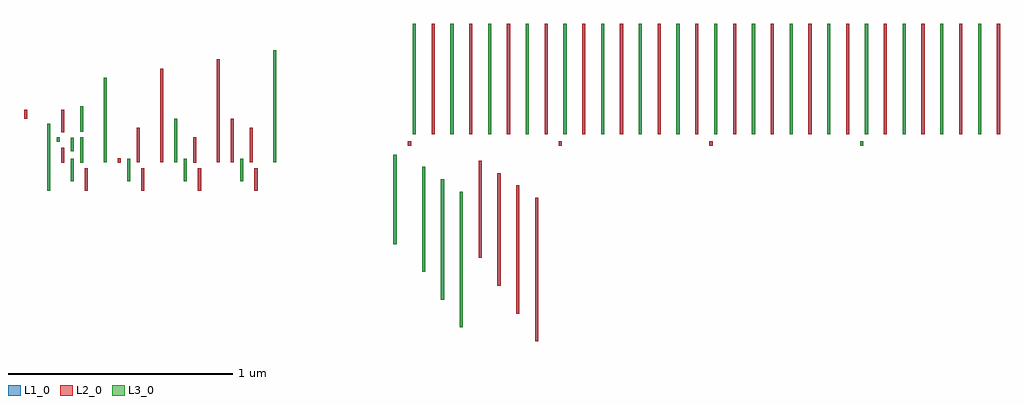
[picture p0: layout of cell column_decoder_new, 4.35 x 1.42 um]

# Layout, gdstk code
import gdstk
lib = gdstk.Library(unit=1e-6, precision=5e-10)
def R(c, l, rs):  # rectangles x0, y0, x1, y1
    for r in rs: c.add(gdstk.rectangle(r[:2], r[2:], *l))
def A(c, l, x, y, w, h, nx, ny, dx, dy):  # array of equal rectangles
    R(c, l, [(x+i*dx, y+j*dy, x+i*dx+w, y+j*dy+h) for i in range(nx) for j in range(ny)])
L1_0 = (1, 0)
L2_0 = (2, 0)
L3_0 = (3, 0)

and_2 = lib.new_cell('and_2')
R(and_2, L1_0, [(0.5425,0.2205,0.5565,0.3205), (0.4795,0.263,0.4935,0.3625)])
R(and_2, L2_0, [(0.5425,0.2205,0.5565,0.3205)])
R(and_2, L3_0, [(0.4795,0.263,0.4935,0.3625)])

column_decoder_new = lib.new_cell('column_decoder_new')
A(column_decoder_new, L1_0, 0.0555, 0.134, 0.014, 0.02, 4, 1, 0.672, 0)
A(column_decoder_new, L1_0, 0.0765, 0.1845, 0.014, 0.494, 32, 1, 0.084, 0)
R(column_decoder_new, L1_0, [(0.6225,-0.738,0.6365,-0.098), (0.2865,-0.676,0.3005,-0.0705), (0.5385,-0.614,0.5525,-0.043), (0.2025,-0.552,0.2165,-0.0155), (0.4545,-0.49,0.4685,0.012), (0.1185,-0.428,0.1325,0.0395), (0.3705,-0.366,0.3845,0.067), (-0.0095,-0.304,0.0045,0.0945), (-1.553,-0.0665,-1.539,0.233), (-1.406,0.0585,-1.392,0.1725), (-1.49,0.059,-1.476,0.1255), (-1.238,0.059,-1.224,0.079), (-0.902,0.059,-0.888,0.1725), (-1.301,0.0615,-1.287,0.437), (-1.154,0.0615,-1.14,0.2145), (-1.049,0.0615,-1.035,0.478), (-0.986,0.0615,-0.972,0.2555), (-0.797,0.0615,-0.783,0.519), (-0.734,0.0615,-0.72,0.2555), (-0.65,0.0615,-0.636,0.2145), (-0.545,0.0615,-0.531,0.56), (-1.448,0.1105,-1.434,0.17), (-1.511,0.1525,-1.497,0.1725), (-1.49,0.1945,-1.476,0.294), (-1.406,0.197,-1.392,0.3095), (-1.656,0.2555,-1.642,0.294)])
A(column_decoder_new, L2_0, 0.0555, 0.134, 0.014, 0.02, 3, 1, 0.672, 0)
A(column_decoder_new, L2_0, 0.1605, 0.1845, 0.014, 0.494, 16, 1, 0.168, 0)
R(column_decoder_new, L2_0, [(0.6225,-0.738,0.6365,-0.098), (0.5385,-0.614,0.5525,-0.043), (0.4545,-0.49,0.4685,0.012), (0.3705,-0.366,0.3845,0.067), (-1.49,0.059,-1.476,0.1255), (-1.238,0.059,-1.224,0.079), (-0.902,0.059,-0.888,0.1725), (-1.154,0.0615,-1.14,0.2145), (-1.049,0.0615,-1.035,0.478), (-0.797,0.0615,-0.783,0.519), (-0.734,0.0615,-0.72,0.2555), (-0.65,0.0615,-0.636,0.2145), (-1.49,0.1945,-1.476,0.294), (-1.656,0.2555,-1.642,0.294)])
A(column_decoder_new, L3_0, 0.0765, 0.1845, 0.014, 0.494, 16, 1, 0.168, 0)
R(column_decoder_new, L3_0, [(0.2865,-0.676,0.3005,-0.0705), (0.2025,-0.552,0.2165,-0.0155), (0.1185,-0.428,0.1325,0.0395), (-0.0095,-0.304,0.0045,0.0945), (-1.553,-0.0665,-1.539,0.233), (-1.406,0.0585,-1.392,0.1725), (-1.301,0.0615,-1.287,0.437), (-0.986,0.0615,-0.972,0.2555), (-0.545,0.0615,-0.531,0.56), (-1.448,0.1105,-1.434,0.17), (2.0715,0.134,2.0855,0.154), (-1.511,0.1525,-1.497,0.1725), (-1.406,0.197,-1.392,0.3095)])
column_decoder_new.add(gdstk.Reference(and_2, (-1.9275,-0.2865)))
column_decoder_new.add(gdstk.Reference(and_2, (-1.1715,-0.2865)))
column_decoder_new.add(gdstk.Reference(and_2, (-1.4235,-0.2865)))
column_decoder_new.add(gdstk.Reference(and_2, (-1.6755,-0.2865)))

lib.write_gds('column_decoder_new.gds')
